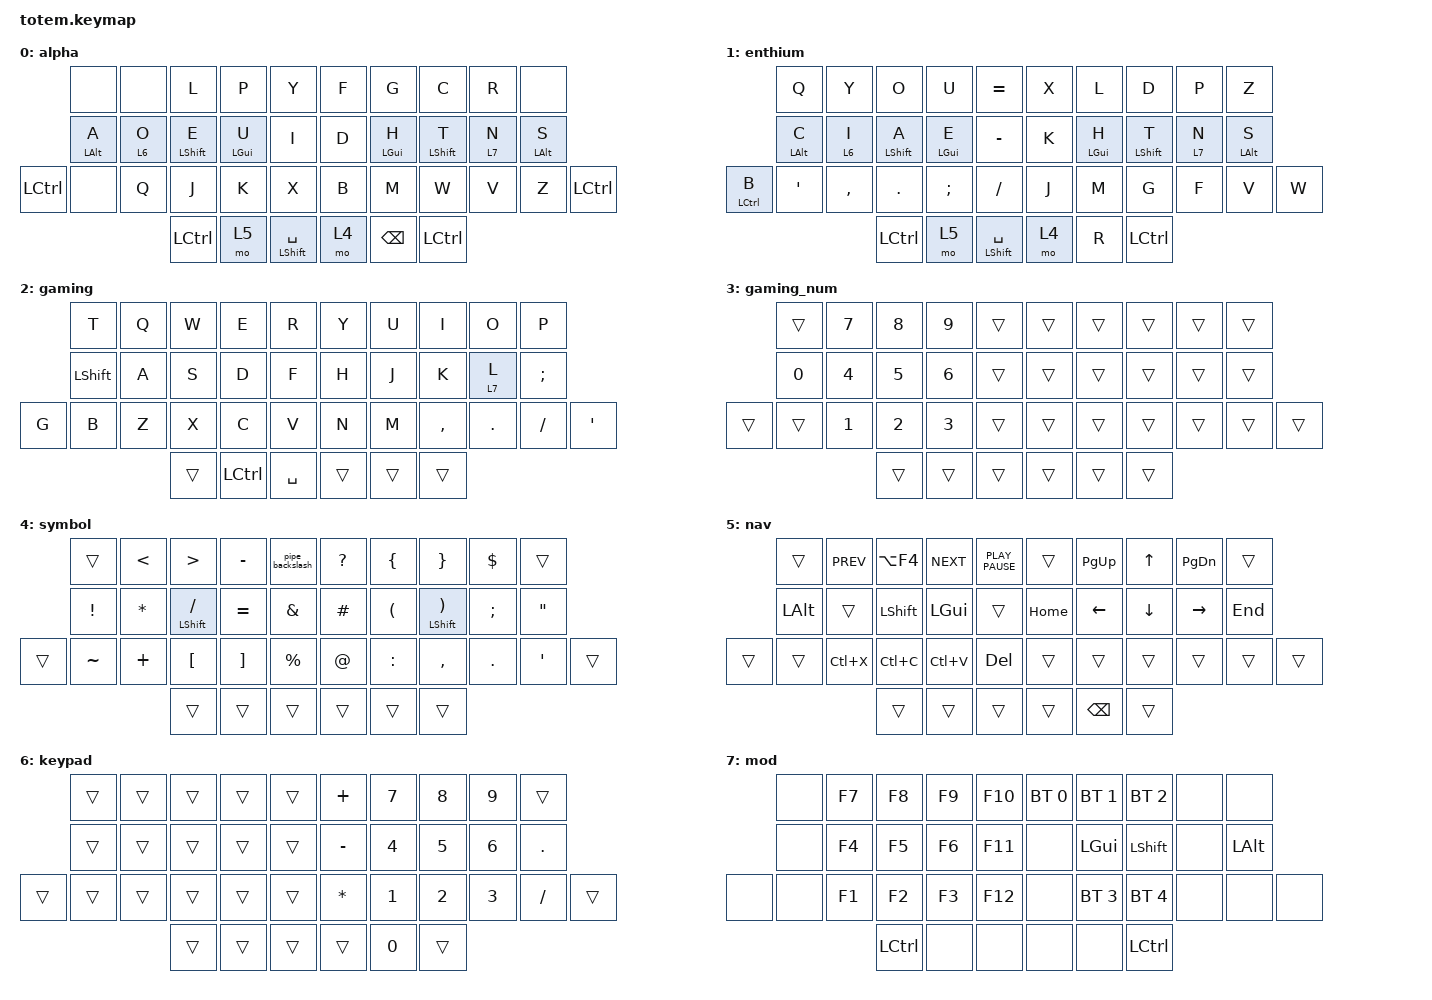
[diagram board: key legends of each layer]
//
//                                                        ▀▀▀▀▀     ▀▀▀▀▀          ▀▀█▀▀
//                                                        ▄▀▀▀▄  ▄  ▄▀▀▀▄  ▄  ▄▀▀▀▄  █  ▄▀▀▀▄
//                                                        █   █  █  █   █  █  █   █  █  █   █
//                                                         ▀▀▀   █   ▀▀▀   █   ▀▀▀   ▀   ▀▀▀
//                                                               █      ▄▄▄█▄▄▄    █   █  
//                                                               ▀      █  █  █     █▄█
//                                                             ▀▀▀▀▀    █  █  █      ▀
//                                                                      ▀  ▀  ▀
//
// ▄▄▄▄▄▄▄▄▄▄▄▄▄▄▄▄▄▄▄▄▄▄▄▄▄▄▄▄▄▄▄▄▄▄▄▄▄▄▄▄▄▄▄▄▄▄▄▄▄▄▄▄▄▄▄▄▄▄▄▄▄▄▄▄▄▄▄▄▄▄▄▄▄▄▄▄▄▄▄▄▄▄▄▄▄▄▄▄▄▄▄▄▄▄▄▄▄▄▄▄▄▄▄▄▄▄▄▄▄▄▄▄▄▄▄▄▄▄▄▄▄▄▄▄▄▄▄▄▄▄▄▄▄▄▄▄▄▄▄▄▄▄▄▄▄▄▄▄▄

#include <behaviors.dtsi>
#include <dt-bindings/zmk/bt.h>
#include <dt-bindings/zmk/keys.h>

/ {
    behaviors {
        hmo: hold_momentary {
            compatible = "zmk,behavior-hold-tap";
            label = "HOMEROW_MOD_LAYER_SHIFT";
            bindings = <&mo>, <&kp>;

            #binding-cells = <2>;
            tapping-term-ms = <200>;
            quick-tap-ms = <175>;
            flavor = "balanced";
        };

        hm: homerow_mods {
            compatible = "zmk,behavior-hold-tap";
            label = "HOMEROW_MODS";
            bindings = <&kp>, <&kp>;

            #binding-cells = <2>;
            tapping-term-ms = <200>;
            quick-tap-ms = <175>;
            flavor = "balanced";
        };

        pipe_backslash: pipe_backslash {
            compatible = "zmk,behavior-mod-morph";
            label = "PIPE_BACKSLASH";
            bindings = <&kp PIPE>, <&kp BACKSLASH>;

            #binding-cells = <0>;
            mods = <(MOD_LSFT|MOD_LGUI|MOD_RSFT|MOD_RGUI)>;
        };
    };

    combos {
        compatible = "zmk,combos";

        escape {
            bindings = <&kp ESCAPE>;
            key-positions = <1 2>;
            timeout-ms = <15>;
            layers = <0 2 1>;
        };

        tab {
            bindings = <&kp TAB>;
            key-positions = <7 8>;
            timeout-ms = <15>;
        };

        underscore {
            bindings = <&kp UNDERSCORE>;
            key-positions = <17 18>;
            timeout-ms = <15>;
            layers = <4>;
        };

        caret {
            bindings = <&kp CARET>;
            key-positions = <11 12>;
            timeout-ms = <15>;
            layers = <4>;
        };

        grave {
            bindings = <&kp GRAVE>;
            key-positions = <22 23>;
            timeout-ms = <15>;
            layers = <4>;
        };

        alpha {
            bindings = <&to 0>;
            key-positions = <10 14>;
            timeout-ms = <15>;
            layers = <7>;
        };

        gaming {
            bindings = <&to 2>;
            key-positions = <21 25>;
            timeout-ms = <15>;
            layers = <7>;
        };

        clear {
            bindings = <&bt BT_CLR>;
            key-positions = <1 4>;
            timeout-ms = <15>;
            layers = <7>;
        };

        enter {
            bindings = <&kp ENTER>;
            key-positions = <17 18>;
            timeout-ms = <15>;
        };

        dictate {
            bindings = <&kp F24>;
            key-positions = <22 23>;
            timeout-ms = <15>;
            layers = <0 2 1>;
        };

        enthium {
            bindings = <&to 1>;
            key-positions = <14 11>;
            timeout-ms = <15>;
            layers = <7>;
        };
    };

    keymap {
        compatible = "zmk,keymap";

        alpha {
            bindings = <
           &none           &none     &kp L             &kp P       &kp Y                   &kp F  &kp G          &kp C             &kp R     &none
           &hm LEFT_ALT A  &hmo 6 O  &hm LEFT_SHIFT E  &hm LGUI U  &kp I                   &kp D  &hm LGUI H     &hm LEFT_SHIFT T  &hmo 7 N  &hm LEFT_ALT S
&kp LCTRL  &none           &kp Q     &kp J             &kp K       &kp X                   &kp B  &kp M          &kp W             &kp V     &kp Z           &kp LCTRL
                                     &kp LCTRL         &mo 5       &hm LEFT_SHIFT SPACE    &mo 4  &kp BACKSPACE  &kp LCTRL
            >;
        };

        enthium {
            bindings = <
             &kp Q           &kp Y      &kp O             &kp U          &kp EQUAL               &kp X  &kp L       &kp D             &kp P     &kp Z
             &hm LEFT_ALT C  &hmo 6 I   &hm LEFT_SHIFT A  &hm LGUI E     &kp MINUS               &kp K  &hm LGUI H  &hm LEFT_SHIFT T  &hmo 7 N  &hm LEFT_ALT S
&hm LCTRL B  &kp SQT         &kp COMMA  &kp PERIOD        &kp SEMICOLON  &kp SLASH               &kp J  &kp M       &kp G             &kp F     &kp V           &kp W
                                        &kp LCTRL         &mo 5          &hm LEFT_SHIFT SPACE    &mo 4  &kp R       &kp LCTRL
            >;
        };

        gaming {
            bindings = <
       &kp T       &kp Q  &kp W   &kp E      &kp R        &kp Y   &kp U   &kp I      &kp O     &kp P
       &kp LSHIFT  &kp A  &kp S   &kp D      &kp F        &kp H   &kp J   &kp K      &hmo 7 L  &kp SEMI
&kp G  &kp B       &kp Z  &kp X   &kp C      &kp V        &kp N   &kp M   &kp COMMA  &kp DOT   &kp FSLH  &kp APOS
                          &trans  &kp LCTRL  &kp SPACE    &trans  &trans  &trans
            >;
        };

        gaming_num {
            bindings = <
        &trans  &kp N7        &kp N8        &kp N9        &trans    &trans  &trans  &trans  &trans  &trans
        &kp N0  &kp NUMBER_4  &kp N5        &kp NUMBER_6  &trans    &trans  &trans  &trans  &trans  &trans
&trans  &trans  &kp NUMBER_1  &kp NUMBER_2  &kp NUMBER_3  &trans    &trans  &trans  &trans  &trans  &trans  &trans
                              &trans        &trans        &trans    &trans  &trans  &trans
            >;
        };

        symbol {
            bindings = <
        &trans     &kp LESS_THAN  &kp GREATER_THAN      &kp MINUS          &pipe_backslash    &kp QUESTION  &kp LEFT_BRACE        &kp RIGHT_BRACE                   &kp DOLLAR     &trans
        &kp EXCL   &kp ASTERISK   &hm LEFT_SHIFT SLASH  &kp EQUAL          &kp AMPERSAND      &kp HASH      &kp LEFT_PARENTHESIS  &hm LEFT_SHIFT RIGHT_PARENTHESIS  &kp SEMICOLON  &kp DOUBLE_QUOTES
&trans  &kp TILDE  &kp PLUS       &kp LEFT_BRACKET      &kp RIGHT_BRACKET  &kp PERCENT        &kp AT_SIGN   &kp COLON             &kp COMMA                         &kp PERIOD     &kp SINGLE_QUOTE   &trans
                                  &trans                &trans             &trans             &trans        &trans                &trans
            >;
        };

        nav {
            bindings = <
        &trans        &kp K_PREV  &kp LA(F4)      &kp K_NEXT  &kp K_PLAY_PAUSE    &trans    &kp PAGE_UP    &kp UP_ARROW  &kp PAGE_DOWN  &trans
        &kp LEFT_ALT  &trans      &kp LEFT_SHIFT  &kp LGUI    &trans              &kp HOME  &kp LEFT       &kp DOWN      &kp RIGHT      &kp END
&trans  &trans        &kp LC(X)   &kp LC(C)       &kp LC(V)   &kp DELETE          &trans    &trans         &trans        &trans         &trans   &trans
                                  &trans          &trans      &trans              &trans    &kp BACKSPACE  &trans
            >;
        };

        keypad {
            bindings = <
        &trans  &trans  &trans  &trans  &trans    &kp PLUS      &kp N7        &kp N8        &kp N9        &trans
        &trans  &trans  &trans  &trans  &trans    &kp MINUS     &kp NUMBER_4  &kp NUMBER_5  &kp NUMBER_6  &kp PERIOD
&trans  &trans  &trans  &trans  &trans  &trans    &kp ASTERISK  &kp NUMBER_1  &kp NUMBER_2  &kp NUMBER_3  &kp SLASH   &trans
                        &trans  &trans  &trans    &trans        &kp NUMBER_0  &trans
            >;
        };

        mod {
            bindings = <
       &none  &kp F7  &kp F8     &kp F9  &kp F10    &bt BT_SEL 0  &bt BT_SEL 1  &bt BT_SEL 2  &none  &none
       &none  &kp F4  &kp F5     &kp F6  &kp F11    &none         &kp LGUI      &kp LSHFT     &none  &kp LEFT_ALT
&none  &none  &kp F1  &kp F2     &kp F3  &kp F12    &none         &bt BT_SEL 3  &bt BT_SEL 4  &none  &none         &none
                      &kp LCTRL  &none   &none      &none         &none         &kp LCTRL
            >;
        };
    };

    conditional_layers { compatible = "zmk,conditional-layers"; };
};
